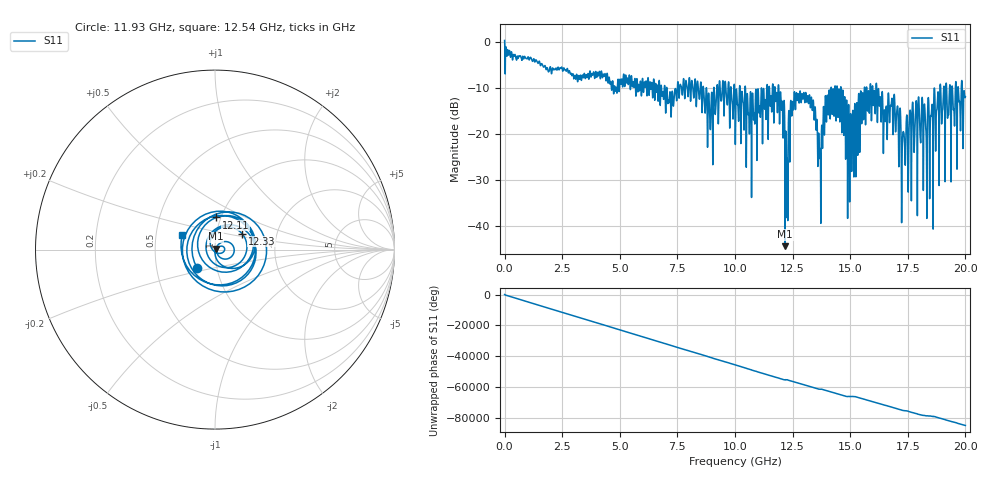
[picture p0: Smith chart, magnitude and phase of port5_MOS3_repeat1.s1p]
! MS46122B
! 2250307/22442219
! 7/23/2025 1:20:49 PM
! C:\USERS\SPARKY\DOCUMENTS\VNA_DATA\JULY23_2025\295K\PORT5_MOS3_REPEAT1.S1P
! CHANNEL.1
! TR.MEASUREMENT
! RAW.DATA
# GHZ S RI R 50.0
! FREQ.GHZ  S11RE  S11IM
!; PortSelection: Port_1
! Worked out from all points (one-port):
!   10001 points, 1 MHz to 20 GHz, reference 50 ohm
!   lowest |S11| = -44.5 dB at 12.18 GHz (marker M1), VSWR 1.01, Z = 50.4 + j0.458 ohm
!   |S11| at or under -10 dB: 11.9 GHz to 14.17 GHz (2.268 GHz wide, 17.4 % of centre); 14.6 GHz to 15.62 GHz (1.014 GHz wide, 6.71 % of centre); 16.15 GHz to 18.65 GHz (2.499 GHz wide, 14.4 % of centre) (the widest 3 of 67)
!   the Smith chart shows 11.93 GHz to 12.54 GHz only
!   S11 on the Smith chart (normalised r, x): 11.93 GHz: 0.80, -0.17; 12.11 GHz: 0.95, +0.35; 12.33 GHz: 1.33, +0.24; 12.54 GHz: 0.68, +0.12
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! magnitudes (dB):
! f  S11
! 1 MHz  0.4
! 2.501 GHz  -5.8
! 5.001 GHz  -8.4
! 7.501 GHz  -9.6
! 8.447 GHz  -12.2
! 8.965 GHz  -13.3
! 9.403 GHz  -12.8
! 10 GHz  -14.7
! 10.65 GHz  -14.4
! 11.93 GHz  -16.9
! 12.11 GHz  -14.9
! 12.18 GHz  -44.5
! 12.33 GHz  -15.1
! 12.5 GHz  -12.9
! 12.54 GHz  -14.0
! 13.31 GHz  -12.0
! 13.67 GHz  -25.2
! 13.92 GHz  -11.7
! 14.26 GHz  -10.1
! 15 GHz  -17.6
! 16.05 GHz  -10.7
! 16.52 GHz  -17.3
! 16.98 GHz  -18.5
! 17.31 GHz  -19.5
! 17.5 GHz  -23.1
! 18.38 GHz  -12.8
! 18.99 GHz  -15.6
! 20 GHz  -11.9
